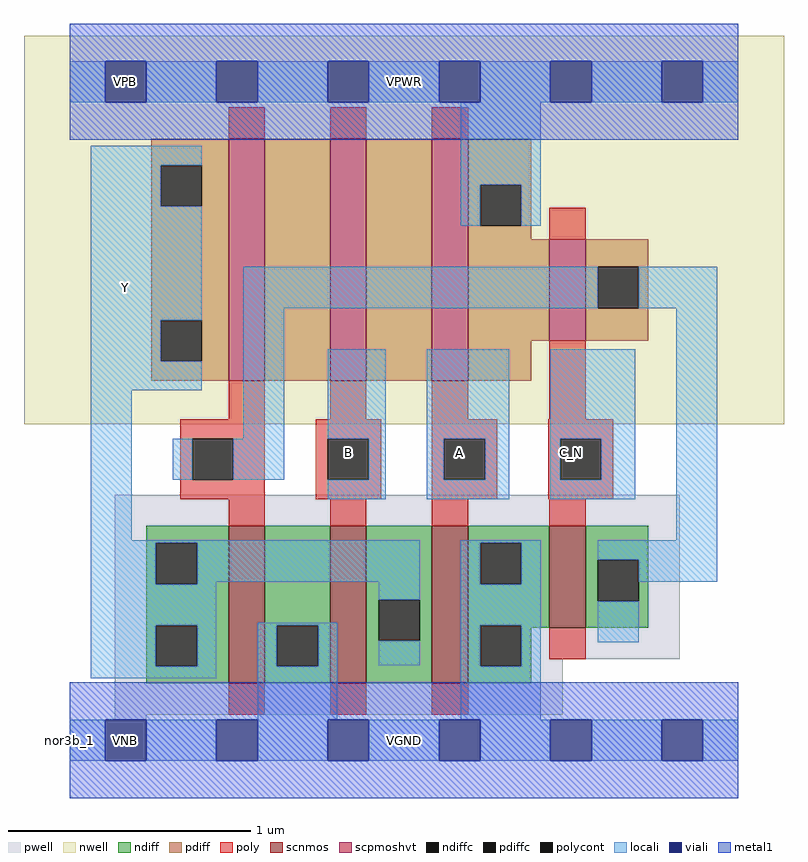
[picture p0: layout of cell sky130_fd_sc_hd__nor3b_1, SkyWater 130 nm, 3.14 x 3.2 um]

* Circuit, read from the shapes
.subckt sky130_fd_sc_hd__nor3b_1 A B C_N VGND VNB VPB VPWR Y
XM1 VGND n1 Y VNB sky130_fd_pr__nfet_01v8 w=0.65 l=0.15
XM2 Y B VGND VNB sky130_fd_pr__nfet_01v8 w=0.65 l=0.15
XM3 VGND A Y VNB sky130_fd_pr__nfet_01v8 w=0.65 l=0.15
XM4 n1 C_N VGND VNB sky130_fd_pr__nfet_01v8 w=0.42 l=0.15
XM5 n2 n1 Y VPB sky130_fd_pr__pfet_01v8_hvt w=1 l=0.15
XM6 n3 B n2 VPB sky130_fd_pr__pfet_01v8_hvt w=1 l=0.15
XM7 VPWR A n3 VPB sky130_fd_pr__pfet_01v8_hvt w=1 l=0.15
XM8 n1 C_N VPWR VPB sky130_fd_pr__pfet_01v8_hvt w=0.42 l=0.15
.ends

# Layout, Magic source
magic
tech sky130A
magscale 1 2
<< nwell >>
rect -38 261 590 582
<< pwell >>
rect 37 67 504 203
rect 37 21 407 67
rect 37 17 63 21
rect 29 -17 63 17
<< scnmos >>
rect 131 47 161 177
rect 215 47 245 177
rect 299 47 329 177
rect 396 93 426 177
<< scpmoshvt >>
rect 131 297 161 497
rect 215 297 245 497
rect 299 297 329 497
rect 396 330 426 414
<< ndiff >>
rect 63 163 131 177
rect 63 129 71 163
rect 105 129 131 163
rect 63 95 131 129
rect 63 61 71 95
rect 105 61 131 95
rect 63 47 131 61
rect 161 95 215 177
rect 161 61 171 95
rect 205 61 215 95
rect 161 47 215 61
rect 245 116 299 177
rect 245 82 255 116
rect 289 82 299 116
rect 245 47 299 82
rect 329 163 396 177
rect 329 129 339 163
rect 373 129 396 163
rect 329 95 396 129
rect 329 61 339 95
rect 373 93 396 95
rect 426 149 478 177
rect 426 115 436 149
rect 470 115 478 149
rect 426 93 478 115
rect 373 61 381 93
rect 329 47 381 61
<< pdiff >>
rect 67 475 131 497
rect 67 441 75 475
rect 109 441 131 475
rect 67 347 131 441
rect 67 313 75 347
rect 109 313 131 347
rect 67 297 131 313
rect 161 297 215 497
rect 245 297 299 497
rect 329 459 381 497
rect 329 425 339 459
rect 373 425 381 459
rect 329 414 381 425
rect 329 330 396 414
rect 426 391 478 414
rect 426 357 436 391
rect 470 357 478 391
rect 426 330 478 357
rect 329 297 381 330
<< ndiffc >>
rect 71 129 105 163
rect 71 61 105 95
rect 171 61 205 95
rect 255 82 289 116
rect 339 129 373 163
rect 339 61 373 95
rect 436 115 470 149
<< pdiffc >>
rect 75 441 109 475
rect 75 313 109 347
rect 339 425 373 459
rect 436 357 470 391
<< poly >>
rect 131 497 161 523
rect 215 497 245 523
rect 299 497 329 523
rect 396 414 426 440
rect 131 265 161 297
rect 215 265 245 297
rect 299 265 329 297
rect 396 265 426 330
rect 91 249 161 265
rect 91 215 101 249
rect 135 215 161 249
rect 91 199 161 215
rect 203 249 257 265
rect 203 215 213 249
rect 247 215 257 249
rect 203 199 257 215
rect 299 249 353 265
rect 299 215 309 249
rect 343 215 353 249
rect 299 199 353 215
rect 395 249 449 265
rect 395 215 405 249
rect 439 215 449 249
rect 395 199 449 215
rect 131 177 161 199
rect 215 177 245 199
rect 299 177 329 199
rect 396 177 426 199
rect 396 67 426 93
rect 131 21 161 47
rect 215 21 245 47
rect 299 21 329 47
<< polycont >>
rect 101 215 135 249
rect 213 215 247 249
rect 309 215 343 249
rect 405 215 439 249
<< locali >>
rect 0 527 29 561
rect 63 527 121 561
rect 155 527 213 561
rect 247 527 305 561
rect 339 527 397 561
rect 431 527 489 561
rect 523 527 552 561
rect 17 475 109 491
rect 17 441 75 475
rect 17 347 109 441
rect 323 459 389 527
rect 323 425 339 459
rect 373 425 389 459
rect 17 313 75 347
rect 17 289 109 313
rect 143 357 436 391
rect 470 357 535 391
rect 17 165 51 289
rect 143 249 177 357
rect 85 215 101 249
rect 135 215 177 249
rect 213 249 261 323
rect 247 215 261 249
rect 213 199 261 215
rect 295 249 363 323
rect 295 215 309 249
rect 343 215 363 249
rect 295 199 363 215
rect 397 249 467 323
rect 397 215 405 249
rect 439 215 467 249
rect 397 199 467 215
rect 501 165 535 357
rect 17 163 289 165
rect 17 129 71 163
rect 105 131 289 163
rect 105 129 121 131
rect 17 95 121 129
rect 255 116 289 131
rect 17 61 71 95
rect 105 61 121 95
rect 17 51 121 61
rect 155 95 221 97
rect 155 61 171 95
rect 205 61 221 95
rect 255 62 289 82
rect 323 163 389 165
rect 323 129 339 163
rect 373 129 389 163
rect 323 95 389 129
rect 155 17 221 61
rect 323 61 339 95
rect 373 61 389 95
rect 436 149 535 165
rect 470 131 535 149
rect 436 81 470 115
rect 323 17 389 61
rect 0 -17 29 17
rect 63 -17 121 17
rect 155 -17 213 17
rect 247 -17 305 17
rect 339 -17 397 17
rect 431 -17 489 17
rect 523 -17 552 17
<< viali >>
rect 29 527 63 561
rect 121 527 155 561
rect 213 527 247 561
rect 305 527 339 561
rect 397 527 431 561
rect 489 527 523 561
rect 29 -17 63 17
rect 121 -17 155 17
rect 213 -17 247 17
rect 305 -17 339 17
rect 397 -17 431 17
rect 489 -17 523 17
<< metal1 >>
rect 0 561 552 592
rect 0 527 29 561
rect 63 527 121 561
rect 155 527 213 561
rect 247 527 305 561
rect 339 527 397 561
rect 431 527 489 561
rect 523 527 552 561
rect 0 496 552 527
rect 0 17 552 48
rect 0 -17 29 17
rect 63 -17 121 17
rect 155 -17 213 17
rect 247 -17 305 17
rect 339 -17 397 17
rect 431 -17 489 17
rect 523 -17 552 17
rect 0 -48 552 -17
<< labels >>
flabel locali s 397 221 431 255 0 FreeSans 400 0 0 0 C_N
port 3 nsew signal input
flabel locali s 29 357 63 391 0 FreeSans 200 0 0 0 Y
port 8 nsew signal output
flabel locali s 305 221 339 255 0 FreeSans 400 0 0 0 A
port 1 nsew signal input
flabel locali s 213 221 247 255 0 FreeSans 400 0 0 0 B
port 2 nsew signal input
flabel nwell s 29 527 63 561 0 FreeSans 200 0 0 0 VPB
port 6 nsew power bidirectional
flabel pwell s 29 -17 63 17 0 FreeSans 200 0 0 0 VNB
port 5 nsew ground bidirectional
flabel metal1 s 29 -17 63 17 0 FreeSans 200 0 0 0 VGND
port 4 nsew ground bidirectional abutment
flabel metal1 s 29 527 63 561 0 FreeSans 200 0 0 0 VPWR
port 7 nsew power bidirectional abutment
rlabel comment s 0 0 0 0 4 nor3b_1
rlabel metal1 s 0 -48 552 48 1 VGND
port 4 nsew ground bidirectional abutment
rlabel metal1 s 0 496 552 592 1 VPWR
port 7 nsew power bidirectional abutment
<< properties >>
string FIXED_BBOX 0 0 552 544
string GDS_END 2020068
string GDS_FILE $PDKPATH/libs.ref/sky130_fd_sc_hd/gds/sky130_fd_sc_hd.gds
string GDS_START 2015324
string LEFclass CORE
string LEFsite unithd
string LEFsymmetry X Y R90
string path 0.000 0.000 13.800 0.000 
<< end >>
